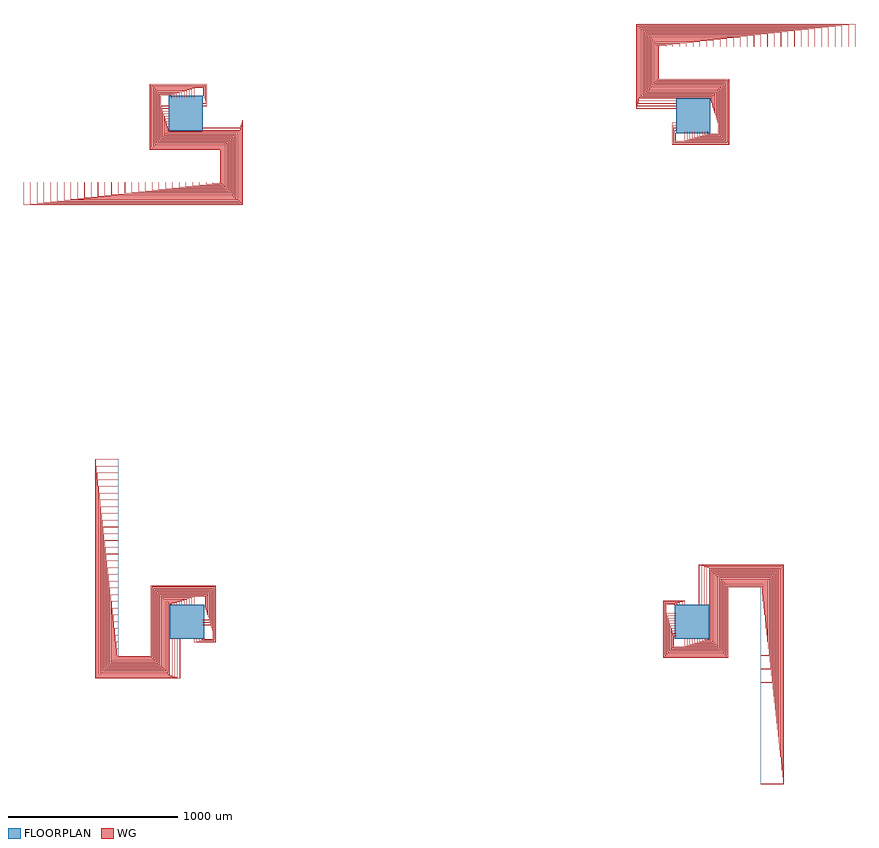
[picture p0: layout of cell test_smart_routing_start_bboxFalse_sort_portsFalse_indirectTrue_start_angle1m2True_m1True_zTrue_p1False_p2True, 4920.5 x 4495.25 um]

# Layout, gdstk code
import gdstk
lib = gdstk.Library(unit=1e-6, precision=1e-09)
def R(c, l, rs):  # rectangles x0, y0, x1, y1
    for r in rs: c.add(gdstk.rectangle(r[:2], r[2:], *l))
def P(c, l, *ps):  # polygons
    for p in ps: c.add(gdstk.Polygon(p, *l))
WG = (1, 0)
FLOORPLAN = (10, 0)

test_smart_routing_start = lib.new_cell('test_smart_routing_start_bboxFalse_sort_portsFalse_indirectTrue_start_angle1m2True_m1True_zTrue_p1False_p2True')
P(test_smart_routing_start, WG, [(2877.5,2822.25),(2877.5,2950.25),(2900,2950.25),(2900,2949.75),(2878,2949.75),(2878,2822.75),(3212,2822.75),(3212,3207.25),(2795.25,3207.25),(2795.25,3404.5),(2800.25,3404.5),(2800.25,3400),(2799.75,3400),(2799.75,3404),(2795.75,3404),(2795.75,3207.75),(3212.5,3207.75),(3212.5,2822.25)],
  [(2882,2826.75),(2882,2935.25),(2900,2935.25),(2900,2934.75),(2882.5,2934.75),(2882.5,2827.25),(3207.5,2827.25),(3207.5,3202.75),(2790.75,3202.75),(2790.75,3409),(2840.25,3409),(2840.25,3400),(2839.75,3400),(2839.75,3408.5),(2791.25,3408.5),(2791.25,3203.25),(3208,3203.25),(3208,2826.75)],
  [(2886.5,2831.25),(2886.5,2920.25),(2900,2920.25),(2900,2919.75),(2887,2919.75),(2887,2831.75),(3203,2831.75),(3203,3198.25),(2786.25,3198.25),(2786.25,3413.5),(2880.25,3413.5),(2880.25,3400),(2879.75,3400),(2879.75,3413),(2786.75,3413),(2786.75,3198.75),(3203.5,3198.75),(3203.5,2831.25)],
  [(2891,2835.75),(2891,2905.25),(2900,2905.25),(2900,2904.75),(2891.5,2904.75),(2891.5,2836.25),(3198.5,2836.25),(3198.5,3193.75),(2781.75,3193.75),(2781.75,3418),(2920.25,3418),(2920.25,3400),(2919.75,3400),(2919.75,3417.5),(2782.25,3417.5),(2782.25,3194.25),(3199,3194.25),(3199,2835.75)],
  [(2895.5,2840.25),(2895.5,2890.25),(2900,2890.25),(2900,2889.75),(2896,2889.75),(2896,2840.75),(3194,2840.75),(3194,3189.25),(2777.25,3189.25),(2777.25,3422.5),(2960.25,3422.5),(2960.25,3400),(2959.75,3400),(2959.75,3422),(2777.75,3422),(2777.75,3189.75),(3194.5,3189.75),(3194.5,2840.25)],
  [(2949.75,2844.75),(2949.75,2900),(2950.25,2900),(2950.25,2845.25),(3189.5,2845.25),(3189.5,3184.75),(2772.75,3184.75),(2772.75,3427),(3000.25,3427),(3000.25,3400),(2999.75,3400),(2999.75,3426.5),(2773.25,3426.5),(2773.25,3185.25),(3190,3185.25),(3190,2844.75)],
  [(2964.75,2849.25),(2964.75,2900),(2965.25,2900),(2965.25,2849.75),(3185,2849.75),(3185,3180.25),(2768.25,3180.25),(2768.25,3431.5),(3040.25,3431.5),(3040.25,3400),(3039.75,3400),(3039.75,3431),(2768.75,3431),(2768.75,3180.75),(3185.5,3180.75),(3185.5,2849.25)],
  [(2979.75,2853.75),(2979.75,2900),(2980.25,2900),(2980.25,2854.25),(3180.5,2854.25),(3180.5,3175.75),(2763.75,3175.75),(2763.75,3436),(3080.25,3436),(3080.25,3400),(3079.75,3400),(3079.75,3435.5),(2764.25,3435.5),(2764.25,3176.25),(3181,3176.25),(3181,2853.75)],
  [(2994.75,2858.25),(2994.75,2900),(2995.25,2900),(2995.25,2858.75),(3176,2858.75),(3176,3171.25),(2759.25,3171.25),(2759.25,3440.5),(3120.25,3440.5),(3120.25,3400),(3119.75,3400),(3119.75,3440),(2759.75,3440),(2759.75,3171.75),(3176.5,3171.75),(3176.5,2858.25)],
  [(3009.75,2862.75),(3009.75,2900),(3010.25,2900),(3010.25,2863.25),(3171.5,2863.25),(3171.5,3166.75),(2754.75,3166.75),(2754.75,3445),(3160.25,3445),(3160.25,3400),(3159.75,3400),(3159.75,3444.5),(2755.25,3444.5),(2755.25,3167.25),(3172,3167.25),(3172,2862.75)],
  [(3024.75,2867.25),(3024.75,2900),(3025.25,2900),(3025.25,2867.75),(3167,2867.75),(3167,3162.25),(2750.25,3162.25),(2750.25,3449.5),(3200.25,3449.5),(3200.25,3400),(3199.75,3400),(3199.75,3449),(2750.75,3449),(2750.75,3162.75),(3167.5,3162.75),(3167.5,2867.25)],
  [(3039.75,2871.75),(3039.75,2900),(3040.25,2900),(3040.25,2872.25),(3162.5,2872.25),(3162.5,3157.75),(2745.75,3157.75),(2745.75,3454),(3240.25,3454),(3240.25,3400),(3239.75,3400),(3239.75,3453.5),(2746.25,3453.5),(2746.25,3158.25),(3163,3158.25),(3163,2871.75)],
  [(3054.75,2876.25),(3054.75,2900),(3055.25,2900),(3055.25,2876.75),(3158,2876.75),(3158,3153.25),(2741.25,3153.25),(2741.25,3458.5),(3280.25,3458.5),(3280.25,3400),(3279.75,3400),(3279.75,3458),(2741.75,3458),(2741.75,3153.75),(3158.5,3153.75),(3158.5,2876.25)],
  [(3069.75,2880.75),(3069.75,2900),(3070.25,2900),(3070.25,2881.25),(3153.5,2881.25),(3153.5,3148.75),(2736.75,3148.75),(2736.75,3463),(3320.25,3463),(3320.25,3400),(3319.75,3400),(3319.75,3462.5),(2737.25,3462.5),(2737.25,3149.25),(3154,3149.25),(3154,2880.75)],
  [(3084.75,2885.25),(3084.75,2900),(3085.25,2900),(3085.25,2885.75),(3149,2885.75),(3149,3144.25),(2732.25,3144.25),(2732.25,3467.5),(3360.25,3467.5),(3360.25,3400),(3359.75,3400),(3359.75,3467),(2732.75,3467),(2732.75,3144.75),(3149.5,3144.75),(3149.5,2885.25)],
  [(3100,2949.75),(3100,2950.25),(3144.5,2950.25),(3144.5,3139.75),(2727.75,3139.75),(2727.75,3472),(3400.25,3472),(3400.25,3400),(3399.75,3400),(3399.75,3471.5),(2728.25,3471.5),(2728.25,3140.25),(3145,3140.25),(3145,2949.75)],
  [(3100,2964.75),(3100,2965.25),(3140,2965.25),(3140,3135.25),(2723.25,3135.25),(2723.25,3476.5),(3440.25,3476.5),(3440.25,3400),(3439.75,3400),(3439.75,3476),(2723.75,3476),(2723.75,3135.75),(3140.5,3135.75),(3140.5,2964.75)],
  [(3100,2979.75),(3100,2980.25),(3135.5,2980.25),(3135.5,3130.75),(2718.75,3130.75),(2718.75,3481),(3480.25,3481),(3480.25,3400),(3479.75,3400),(3479.75,3480.5),(2719.25,3480.5),(2719.25,3131.25),(3136,3131.25),(3136,2979.75)],
  [(3100,2994.75),(3100,2995.25),(3131,2995.25),(3131,3126.25),(2714.25,3126.25),(2714.25,3485.5),(3520.25,3485.5),(3520.25,3400),(3519.75,3400),(3519.75,3485),(2714.75,3485),(2714.75,3126.75),(3131.5,3126.75),(3131.5,2994.75)],
  [(3100,3009.75),(3100,3010.25),(3126.5,3010.25),(3126.5,3121.75),(2709.75,3121.75),(2709.75,3490),(3560.25,3490),(3560.25,3400),(3559.75,3400),(3559.75,3489.5),(2710.25,3489.5),(2710.25,3122.25),(3127,3122.25),(3127,3009.75)],
  [(3100,3024.75),(3100,3025.25),(3122,3025.25),(3122,3117.25),(2705.25,3117.25),(2705.25,3494.5),(3600.25,3494.5),(3600.25,3400),(3599.75,3400),(3599.75,3494),(2705.75,3494),(2705.75,3117.75),(3122.5,3117.75),(3122.5,3024.75)],
  [(3100,3039.75),(3100,3040.25),(3117.5,3040.25),(3117.5,3112.75),(2700.75,3112.75),(2700.75,3499),(3640.25,3499),(3640.25,3400),(3639.75,3400),(3639.75,3498.5),(2701.25,3498.5),(2701.25,3113.25),(3118,3113.25),(3118,3039.75)],
  [(3100,3054.75),(3100,3055.25),(3113,3055.25),(3113,3108.25),(2696.25,3108.25),(2696.25,3503.5),(3680.25,3503.5),(3680.25,3400),(3679.75,3400),(3679.75,3503),(2696.75,3503),(2696.75,3108.75),(3113.5,3108.75),(3113.5,3054.75)],
  [(3100,3069.75),(3100,3070.25),(3108.5,3070.25),(3108.5,3103.75),(2691.75,3103.75),(2691.75,3508),(3720.25,3508),(3720.25,3400),(3719.75,3400),(3719.75,3507.5),(2692.25,3507.5),(2692.25,3104.25),(3109,3104.25),(3109,3069.75)],
  [(3100,3084.75),(3100,3085.25),(3104,3085.25),(3104,3099.25),(2687.25,3099.25),(2687.25,3512.5),(3760.25,3512.5),(3760.25,3400),(3759.75,3400),(3759.75,3512),(2687.75,3512),(2687.75,3099.75),(3104.5,3099.75),(3104.5,3084.75)],
  [(2664.75,3034.75),(2664.75,3535),(3960.25,3535),(3960.25,3400),(3959.75,3400),(3959.75,3534.5),(2665.25,3534.5),(2665.25,3035.25),(2900,3035.25),(2900,3034.75)],
  [(2669.25,3049.75),(2669.25,3530.5),(3920.25,3530.5),(3920.25,3400),(3919.75,3400),(3919.75,3530),(2669.75,3530),(2669.75,3050.25),(2900,3050.25),(2900,3049.75)],
  [(2673.75,3064.75),(2673.75,3526),(3880.25,3526),(3880.25,3400),(3879.75,3400),(3879.75,3525.5),(2674.25,3525.5),(2674.25,3065.25),(2900,3065.25),(2900,3064.75)],
  [(2678.25,3079.75),(2678.25,3521.5),(3840.25,3521.5),(3840.25,3400),(3839.75,3400),(3839.75,3521),(2678.75,3521),(2678.75,3080.25),(2900,3080.25),(2900,3079.75)],
  [(2682.75,3094.75),(2682.75,3517),(3800.25,3517),(3800.25,3400),(3799.75,3400),(3799.75,3516.5),(2683.25,3516.5),(2683.25,3095.25),(2900,3095.25),(2900,3094.75)],
  [(199.75,2595.5),(199.75,2600),(200.25,2600),(200.25,2596),(204.25,2596),(204.25,2792.25),(-212.5,2792.25),(-212.5,3177.75),(122.5,3177.75),(122.5,3049.75),(100,3049.75),(100,3050.25),(122,3050.25),(122,3177.25),(-212,3177.25),(-212,2792.75),(204.75,2792.75),(204.75,2595.5)],
  [(159.75,2591),(159.75,2600),(160.25,2600),(160.25,2591.5),(208.75,2591.5),(208.75,2796.75),(-208,2796.75),(-208,3173.25),(118,3173.25),(118,3064.75),(100,3064.75),(100,3065.25),(117.5,3065.25),(117.5,3172.75),(-207.5,3172.75),(-207.5,2797.25),(209.25,2797.25),(209.25,2591)],
  [(119.75,2586.5),(119.75,2600),(120.25,2600),(120.25,2587),(213.25,2587),(213.25,2801.25),(-203.5,2801.25),(-203.5,3168.75),(113.5,3168.75),(113.5,3079.75),(100,3079.75),(100,3080.25),(113,3080.25),(113,3168.25),(-203,3168.25),(-203,2801.75),(213.75,2801.75),(213.75,2586.5)],
  [(79.75,2582),(79.75,2600),(80.25,2600),(80.25,2582.5),(217.75,2582.5),(217.75,2805.75),(-199,2805.75),(-199,3164.25),(109,3164.25),(109,3094.75),(100,3094.75),(100,3095.25),(108.5,3095.25),(108.5,3163.75),(-198.5,3163.75),(-198.5,2806.25),(218.25,2806.25),(218.25,2582)],
  [(39.75,2577.5),(39.75,2600),(40.25,2600),(40.25,2578),(222.25,2578),(222.25,2810.25),(-194.5,2810.25),(-194.5,3159.75),(104.5,3159.75),(104.5,3109.75),(100,3109.75),(100,3110.25),(104,3110.25),(104,3159.25),(-194,3159.25),(-194,2810.75),(222.75,2810.75),(222.75,2577.5)],
  [(-0.25,2573),(-0.25,2600),(0.25,2600),(0.25,2573.5),(226.75,2573.5),(226.75,2814.75),(-190,2814.75),(-190,3155.25),(50.25,3155.25),(50.25,3100),(49.75,3100),(49.75,3154.75),(-189.5,3154.75),(-189.5,2815.25),(227.25,2815.25),(227.25,2573)],
  [(-40.25,2568.5),(-40.25,2600),(-39.75,2600),(-39.75,2569),(231.25,2569),(231.25,2819.25),(-185.5,2819.25),(-185.5,3150.75),(35.25,3150.75),(35.25,3100),(34.75,3100),(34.75,3150.25),(-185,3150.25),(-185,2819.75),(231.75,2819.75),(231.75,2568.5)],
  [(-80.25,2564),(-80.25,2600),(-79.75,2600),(-79.75,2564.5),(235.75,2564.5),(235.75,2823.75),(-181,2823.75),(-181,3146.25),(20.25,3146.25),(20.25,3100),(19.75,3100),(19.75,3145.75),(-180.5,3145.75),(-180.5,2824.25),(236.25,2824.25),(236.25,2564)],
  [(-120.25,2559.5),(-120.25,2600),(-119.75,2600),(-119.75,2560),(240.25,2560),(240.25,2828.25),(-176.5,2828.25),(-176.5,3141.75),(5.25,3141.75),(5.25,3100),(4.75,3100),(4.75,3141.25),(-176,3141.25),(-176,2828.75),(240.75,2828.75),(240.75,2559.5)],
  [(-160.25,2555),(-160.25,2600),(-159.75,2600),(-159.75,2555.5),(244.75,2555.5),(244.75,2832.75),(-172,2832.75),(-172,3137.25),(-9.75,3137.25),(-9.75,3100),(-10.25,3100),(-10.25,3136.75),(-171.5,3136.75),(-171.5,2833.25),(245.25,2833.25),(245.25,2555)],
  [(-200.25,2550.5),(-200.25,2600),(-199.75,2600),(-199.75,2551),(249.25,2551),(249.25,2837.25),(-167.5,2837.25),(-167.5,3132.75),(-24.75,3132.75),(-24.75,3100),(-25.25,3100),(-25.25,3132.25),(-167,3132.25),(-167,2837.75),(249.75,2837.75),(249.75,2550.5)],
  [(-240.25,2546),(-240.25,2600),(-239.75,2600),(-239.75,2546.5),(253.75,2546.5),(253.75,2841.75),(-163,2841.75),(-163,3128.25),(-39.75,3128.25),(-39.75,3100),(-40.25,3100),(-40.25,3127.75),(-162.5,3127.75),(-162.5,2842.25),(254.25,2842.25),(254.25,2546)],
  [(-280.25,2541.5),(-280.25,2600),(-279.75,2600),(-279.75,2542),(258.25,2542),(258.25,2846.25),(-158.5,2846.25),(-158.5,3123.75),(-54.75,3123.75),(-54.75,3100),(-55.25,3100),(-55.25,3123.25),(-158,3123.25),(-158,2846.75),(258.75,2846.75),(258.75,2541.5)],
  [(-320.25,2537),(-320.25,2600),(-319.75,2600),(-319.75,2537.5),(262.75,2537.5),(262.75,2850.75),(-154,2850.75),(-154,3119.25),(-69.75,3119.25),(-69.75,3100),(-70.25,3100),(-70.25,3118.75),(-153.5,3118.75),(-153.5,2851.25),(263.25,2851.25),(263.25,2537)],
  [(-360.25,2532.5),(-360.25,2600),(-359.75,2600),(-359.75,2533),(267.25,2533),(267.25,2855.25),(-149.5,2855.25),(-149.5,3114.75),(-84.75,3114.75),(-84.75,3100),(-85.25,3100),(-85.25,3114.25),(-149,3114.25),(-149,2855.75),(267.75,2855.75),(267.75,2532.5)],
  [(-400.25,2528),(-400.25,2600),(-399.75,2600),(-399.75,2528.5),(271.75,2528.5),(271.75,2859.75),(-145,2859.75),(-145,3050.25),(-100,3050.25),(-100,3049.75),(-144.5,3049.75),(-144.5,2860.25),(272.25,2860.25),(272.25,2528)],
  [(-440.25,2523.5),(-440.25,2600),(-439.75,2600),(-439.75,2524),(276.25,2524),(276.25,2864.25),(-140.5,2864.25),(-140.5,3035.25),(-100,3035.25),(-100,3034.75),(-140,3034.75),(-140,2864.75),(276.75,2864.75),(276.75,2523.5)],
  [(-480.25,2519),(-480.25,2600),(-479.75,2600),(-479.75,2519.5),(280.75,2519.5),(280.75,2868.75),(-136,2868.75),(-136,3020.25),(-100,3020.25),(-100,3019.75),(-135.5,3019.75),(-135.5,2869.25),(281.25,2869.25),(281.25,2519)],
  [(-520.25,2514.5),(-520.25,2600),(-519.75,2600),(-519.75,2515),(285.25,2515),(285.25,2873.25),(-131.5,2873.25),(-131.5,3005.25),(-100,3005.25),(-100,3004.75),(-131,3004.75),(-131,2873.75),(285.75,2873.75),(285.75,2514.5)],
  [(-560.25,2510),(-560.25,2600),(-559.75,2600),(-559.75,2510.5),(289.75,2510.5),(289.75,2877.75),(-127,2877.75),(-127,2990.25),(-100,2990.25),(-100,2989.75),(-126.5,2989.75),(-126.5,2878.25),(290.25,2878.25),(290.25,2510)],
  [(-600.25,2505.5),(-600.25,2600),(-599.75,2600),(-599.75,2506),(294.25,2506),(294.25,2882.25),(-122.5,2882.25),(-122.5,2975.25),(-100,2975.25),(-100,2974.75),(-122,2974.75),(-122,2882.75),(294.75,2882.75),(294.75,2505.5)],
  [(-640.25,2501),(-640.25,2600),(-639.75,2600),(-639.75,2501.5),(298.75,2501.5),(298.75,2886.75),(-118,2886.75),(-118,2960.25),(-100,2960.25),(-100,2959.75),(-117.5,2959.75),(-117.5,2887.25),(299.25,2887.25),(299.25,2501)],
  [(-680.25,2496.5),(-680.25,2600),(-679.75,2600),(-679.75,2497),(303.25,2497),(303.25,2891.25),(-113.5,2891.25),(-113.5,2945.25),(-100,2945.25),(-100,2944.75),(-113,2944.75),(-113,2891.75),(303.75,2891.75),(303.75,2496.5)],
  [(-720.25,2492),(-720.25,2600),(-719.75,2600),(-719.75,2492.5),(307.75,2492.5),(307.75,2895.75),(-109,2895.75),(-109,2930.25),(-100,2930.25),(-100,2929.75),(-108.5,2929.75),(-108.5,2896.25),(308.25,2896.25),(308.25,2492)],
  [(-760.25,2487.5),(-760.25,2600),(-759.75,2600),(-759.75,2488),(312.25,2488),(312.25,2900.25),(-104.5,2900.25),(-104.5,2915.25),(-100,2915.25),(-100,2914.75),(-104,2914.75),(-104,2900.75),(312.75,2900.75),(312.75,2487.5)],
  [(-960.25,2465),(-960.25,2600),(-959.75,2600),(-959.75,2465.5),(334.75,2465.5),(334.75,2964.75),(100,2964.75),(100,2965.25),(335.25,2965.25),(335.25,2465)],
  [(-920.25,2469.5),(-920.25,2600),(-919.75,2600),(-919.75,2470),(330.25,2470),(330.25,2949.75),(100,2949.75),(100,2950.25),(330.75,2950.25),(330.75,2469.5)],
  [(-880.25,2474),(-880.25,2600),(-879.75,2600),(-879.75,2474.5),(325.75,2474.5),(325.75,2934.75),(100,2934.75),(100,2935.25),(326.25,2935.25),(326.25,2474)],
  [(-840.25,2478.5),(-840.25,2600),(-839.75,2600),(-839.75,2479),(321.25,2479),(321.25,2919.75),(100,2919.75),(100,2920.25),(321.75,2920.25),(321.75,2478.5)],
  [(-800.25,2483),(-800.25,2600),(-799.75,2600),(-799.75,2483.5),(316.75,2483.5),(316.75,2904.75),(100,2904.75),(100,2905.25),(317.25,2905.25),(317.25,2483)],
  [(-404.5,-204.75),(-404.5,-199.75),(-400,-199.75),(-400,-200.25),(-404,-200.25),(-404,-204.25),(-207.75,-204.25),(-207.75,212.5),(177.75,212.5),(177.75,-122.5),(49.75,-122.5),(49.75,-100),(50.25,-100),(50.25,-122),(177.25,-122),(177.25,212),(-207.25,212),(-207.25,-204.75)],
  [(-409,-209.25),(-409,-159.75),(-400,-159.75),(-400,-160.25),(-408.5,-160.25),(-408.5,-208.75),(-203.25,-208.75),(-203.25,208),(173.25,208),(173.25,-118),(64.75,-118),(64.75,-100),(65.25,-100),(65.25,-117.5),(172.75,-117.5),(172.75,207.5),(-202.75,207.5),(-202.75,-209.25)],
  [(-413.5,-213.75),(-413.5,-119.75),(-400,-119.75),(-400,-120.25),(-413,-120.25),(-413,-213.25),(-198.75,-213.25),(-198.75,203.5),(168.75,203.5),(168.75,-113.5),(79.75,-113.5),(79.75,-100),(80.25,-100),(80.25,-113),(168.25,-113),(168.25,203),(-198.25,203),(-198.25,-213.75)],
  [(-418,-218.25),(-418,-79.75),(-400,-79.75),(-400,-80.25),(-417.5,-80.25),(-417.5,-217.75),(-194.25,-217.75),(-194.25,199),(164.25,199),(164.25,-109),(94.75,-109),(94.75,-100),(95.25,-100),(95.25,-108.5),(163.75,-108.5),(163.75,198.5),(-193.75,198.5),(-193.75,-218.25)],
  [(-422.5,-222.75),(-422.5,-39.75),(-400,-39.75),(-400,-40.25),(-422,-40.25),(-422,-222.25),(-189.75,-222.25),(-189.75,194.5),(159.75,194.5),(159.75,-104.5),(109.75,-104.5),(109.75,-100),(110.25,-100),(110.25,-104),(159.25,-104),(159.25,194),(-189.25,194),(-189.25,-222.75)],
  [(-427,-227.25),(-427,0.25),(-400,0.25),(-400,-0.25),(-426.5,-0.25),(-426.5,-226.75),(-185.25,-226.75),(-185.25,190),(155.25,190),(155.25,-50.25),(100,-50.25),(100,-49.75),(154.75,-49.75),(154.75,189.5),(-184.75,189.5),(-184.75,-227.25)],
  [(-431.5,-231.75),(-431.5,40.25),(-400,40.25),(-400,39.75),(-431,39.75),(-431,-231.25),(-180.75,-231.25),(-180.75,185.5),(150.75,185.5),(150.75,-35.25),(100,-35.25),(100,-34.75),(150.25,-34.75),(150.25,185),(-180.25,185),(-180.25,-231.75)],
  [(-436,-236.25),(-436,80.25),(-400,80.25),(-400,79.75),(-435.5,79.75),(-435.5,-235.75),(-176.25,-235.75),(-176.25,181),(146.25,181),(146.25,-20.25),(100,-20.25),(100,-19.75),(145.75,-19.75),(145.75,180.5),(-175.75,180.5),(-175.75,-236.25)],
  [(-440.5,-240.75),(-440.5,120.25),(-400,120.25),(-400,119.75),(-440,119.75),(-440,-240.25),(-171.75,-240.25),(-171.75,176.5),(141.75,176.5),(141.75,-5.25),(100,-5.25),(100,-4.75),(141.25,-4.75),(141.25,176),(-171.25,176),(-171.25,-240.75)],
  [(-445,-245.25),(-445,160.25),(-400,160.25),(-400,159.75),(-444.5,159.75),(-444.5,-244.75),(-167.25,-244.75),(-167.25,172),(137.25,172),(137.25,9.75),(100,9.75),(100,10.25),(136.75,10.25),(136.75,171.5),(-166.75,171.5),(-166.75,-245.25)],
  [(-449.5,-249.75),(-449.5,200.25),(-400,200.25),(-400,199.75),(-449,199.75),(-449,-249.25),(-162.75,-249.25),(-162.75,167.5),(132.75,167.5),(132.75,24.75),(100,24.75),(100,25.25),(132.25,25.25),(132.25,167),(-162.25,167),(-162.25,-249.75)],
  [(-454,-254.25),(-454,240.25),(-400,240.25),(-400,239.75),(-453.5,239.75),(-453.5,-253.75),(-158.25,-253.75),(-158.25,163),(128.25,163),(128.25,39.75),(100,39.75),(100,40.25),(127.75,40.25),(127.75,162.5),(-157.75,162.5),(-157.75,-254.25)],
  [(-458.5,-258.75),(-458.5,280.25),(-400,280.25),(-400,279.75),(-458,279.75),(-458,-258.25),(-153.75,-258.25),(-153.75,158.5),(123.75,158.5),(123.75,54.75),(100,54.75),(100,55.25),(123.25,55.25),(123.25,158),(-153.25,158),(-153.25,-258.75)],
  [(-463,-263.25),(-463,320.25),(-400,320.25),(-400,319.75),(-462.5,319.75),(-462.5,-262.75),(-149.25,-262.75),(-149.25,154),(119.25,154),(119.25,69.75),(100,69.75),(100,70.25),(118.75,70.25),(118.75,153.5),(-148.75,153.5),(-148.75,-263.25)],
  [(-467.5,-267.75),(-467.5,360.25),(-400,360.25),(-400,359.75),(-467,359.75),(-467,-267.25),(-144.75,-267.25),(-144.75,149.5),(114.75,149.5),(114.75,84.75),(100,84.75),(100,85.25),(114.25,85.25),(114.25,149),(-144.25,149),(-144.25,-267.75)],
  [(-472,-272.25),(-472,400.25),(-400,400.25),(-400,399.75),(-471.5,399.75),(-471.5,-271.75),(-140.25,-271.75),(-140.25,145),(50.25,145),(50.25,100),(49.75,100),(49.75,144.5),(-139.75,144.5),(-139.75,-272.25)],
  [(-476.5,-276.75),(-476.5,440.25),(-400,440.25),(-400,439.75),(-476,439.75),(-476,-276.25),(-135.75,-276.25),(-135.75,140.5),(35.25,140.5),(35.25,100),(34.75,100),(34.75,140),(-135.25,140),(-135.25,-276.75)],
  [(-481,-281.25),(-481,480.25),(-400,480.25),(-400,479.75),(-480.5,479.75),(-480.5,-280.75),(-131.25,-280.75),(-131.25,136),(20.25,136),(20.25,100),(19.75,100),(19.75,135.5),(-130.75,135.5),(-130.75,-281.25)],
  [(-485.5,-285.75),(-485.5,520.25),(-400,520.25),(-400,519.75),(-485,519.75),(-485,-285.25),(-126.75,-285.25),(-126.75,131.5),(5.25,131.5),(5.25,100),(4.75,100),(4.75,131),(-126.25,131),(-126.25,-285.75)],
  [(-490,-290.25),(-490,560.25),(-400,560.25),(-400,559.75),(-489.5,559.75),(-489.5,-289.75),(-122.25,-289.75),(-122.25,127),(-9.75,127),(-9.75,100),(-10.25,100),(-10.25,126.5),(-121.75,126.5),(-121.75,-290.25)],
  [(-494.5,-294.75),(-494.5,600.25),(-400,600.25),(-400,599.75),(-494,599.75),(-494,-294.25),(-117.75,-294.25),(-117.75,122.5),(-24.75,122.5),(-24.75,100),(-25.25,100),(-25.25,122),(-117.25,122),(-117.25,-294.75)],
  [(-499,-299.25),(-499,640.25),(-400,640.25),(-400,639.75),(-498.5,639.75),(-498.5,-298.75),(-113.25,-298.75),(-113.25,118),(-39.75,118),(-39.75,100),(-40.25,100),(-40.25,117.5),(-112.75,117.5),(-112.75,-299.25)],
  [(-503.5,-303.75),(-503.5,680.25),(-400,680.25),(-400,679.75),(-503,679.75),(-503,-303.25),(-108.75,-303.25),(-108.75,113.5),(-54.75,113.5),(-54.75,100),(-55.25,100),(-55.25,113),(-108.25,113),(-108.25,-303.75)],
  [(-508,-308.25),(-508,720.25),(-400,720.25),(-400,719.75),(-507.5,719.75),(-507.5,-307.75),(-104.25,-307.75),(-104.25,109),(-69.75,109),(-69.75,100),(-70.25,100),(-70.25,108.5),(-103.75,108.5),(-103.75,-308.25)],
  [(-512.5,-312.75),(-512.5,760.25),(-400,760.25),(-400,759.75),(-512,759.75),(-512,-312.25),(-99.75,-312.25),(-99.75,104.5),(-84.75,104.5),(-84.75,100),(-85.25,100),(-85.25,104),(-99.25,104),(-99.25,-312.75)],
  [(-535,-335.25),(-535,960.25),(-400,960.25),(-400,959.75),(-534.5,959.75),(-534.5,-334.75),(-35.25,-334.75),(-35.25,-100),(-34.75,-100),(-34.75,-335.25)],
  [(-530.5,-330.75),(-530.5,920.25),(-400,920.25),(-400,919.75),(-530,919.75),(-530,-330.25),(-50.25,-330.25),(-50.25,-100),(-49.75,-100),(-49.75,-330.75)],
  [(-526,-326.25),(-526,880.25),(-400,880.25),(-400,879.75),(-525.5,879.75),(-525.5,-325.75),(-65.25,-325.75),(-65.25,-100),(-64.75,-100),(-64.75,-326.25)],
  [(-521.5,-321.75),(-521.5,840.25),(-400,840.25),(-400,839.75),(-521,839.75),(-521,-321.25),(-80.25,-321.25),(-80.25,-100),(-79.75,-100),(-79.75,-321.75)],
  [(-517,-317.25),(-517,800.25),(-400,800.25),(-400,799.75),(-516.5,799.75),(-516.5,-316.75),(-95.25,-316.75),(-95.25,-100),(-94.75,-100),(-94.75,-317.25)],
  [(2822.25,-212.5),(2822.25,122.5),(2950.25,122.5),(2950.25,100),(2949.75,100),(2949.75,122),(2822.75,122),(2822.75,-212),(3207.25,-212),(3207.25,204.75),(3404.5,204.75),(3404.5,199.75),(3400,199.75),(3400,200.25),(3404,200.25),(3404,204.25),(3207.75,204.25),(3207.75,-212.5)],
  [(2826.75,-208),(2826.75,118),(2935.25,118),(2935.25,100),(2934.75,100),(2934.75,117.5),(2827.25,117.5),(2827.25,-207.5),(3202.75,-207.5),(3202.75,209.25),(3409,209.25),(3409,159.75),(3400,159.75),(3400,160.25),(3408.5,160.25),(3408.5,208.75),(3203.25,208.75),(3203.25,-208)],
  [(2831.25,-203.5),(2831.25,113.5),(2920.25,113.5),(2920.25,100),(2919.75,100),(2919.75,113),(2831.75,113),(2831.75,-203),(3198.25,-203),(3198.25,213.75),(3413.5,213.75),(3413.5,119.75),(3400,119.75),(3400,120.25),(3413,120.25),(3413,213.25),(3198.75,213.25),(3198.75,-203.5)],
  [(2835.75,-199),(2835.75,109),(2905.25,109),(2905.25,100),(2904.75,100),(2904.75,108.5),(2836.25,108.5),(2836.25,-198.5),(3193.75,-198.5),(3193.75,218.25),(3418,218.25),(3418,79.75),(3400,79.75),(3400,80.25),(3417.5,80.25),(3417.5,217.75),(3194.25,217.75),(3194.25,-199)],
  [(2840.25,-194.5),(2840.25,104.5),(2890.25,104.5),(2890.25,100),(2889.75,100),(2889.75,104),(2840.75,104),(2840.75,-194),(3189.25,-194),(3189.25,222.75),(3422.5,222.75),(3422.5,39.75),(3400,39.75),(3400,40.25),(3422,40.25),(3422,222.25),(3189.75,222.25),(3189.75,-194.5)],
  [(2844.75,-190),(2844.75,50.25),(2900,50.25),(2900,49.75),(2845.25,49.75),(2845.25,-189.5),(3184.75,-189.5),(3184.75,227.25),(3427,227.25),(3427,-0.25),(3400,-0.25),(3400,0.25),(3426.5,0.25),(3426.5,226.75),(3185.25,226.75),(3185.25,-190)],
  [(2849.25,-185.5),(2849.25,35.25),(2900,35.25),(2900,34.75),(2849.75,34.75),(2849.75,-185),(3180.25,-185),(3180.25,231.75),(3431.5,231.75),(3431.5,-40.25),(3400,-40.25),(3400,-39.75),(3431,-39.75),(3431,231.25),(3180.75,231.25),(3180.75,-185.5)],
  [(2853.75,-181),(2853.75,20.25),(2900,20.25),(2900,19.75),(2854.25,19.75),(2854.25,-180.5),(3175.75,-180.5),(3175.75,236.25),(3436,236.25),(3436,-80.25),(3400,-80.25),(3400,-79.75),(3435.5,-79.75),(3435.5,235.75),(3176.25,235.75),(3176.25,-181)],
  [(2858.25,-176.5),(2858.25,5.25),(2900,5.25),(2900,4.75),(2858.75,4.75),(2858.75,-176),(3171.25,-176),(3171.25,240.75),(3440.5,240.75),(3440.5,-120.25),(3400,-120.25),(3400,-119.75),(3440,-119.75),(3440,240.25),(3171.75,240.25),(3171.75,-176.5)],
  [(2862.75,-172),(2862.75,-9.75),(2900,-9.75),(2900,-10.25),(2863.25,-10.25),(2863.25,-171.5),(3166.75,-171.5),(3166.75,245.25),(3445,245.25),(3445,-160.25),(3400,-160.25),(3400,-159.75),(3444.5,-159.75),(3444.5,244.75),(3167.25,244.75),(3167.25,-172)],
  [(3400,-200.25),(3400,-199.75),(3449,-199.75),(3449,249.25),(3162.75,249.25),(3162.75,-167.5),(2867.25,-167.5),(2867.25,-24.75),(2900,-24.75),(2900,-25.25),(2867.75,-25.25),(2867.75,-167),(3162.25,-167),(3162.25,249.75),(3449.5,249.75),(3449.5,-200.25)],
  [(3400,-240.25),(3400,-239.75),(3453.5,-239.75),(3453.5,253.75),(3158.25,253.75),(3158.25,-163),(2871.75,-163),(2871.75,-39.75),(2900,-39.75),(2900,-40.25),(2872.25,-40.25),(2872.25,-162.5),(3157.75,-162.5),(3157.75,254.25),(3454,254.25),(3454,-240.25)],
  [(3400,-280.25),(3400,-279.75),(3458,-279.75),(3458,258.25),(3153.75,258.25),(3153.75,-158.5),(2876.25,-158.5),(2876.25,-54.75),(2900,-54.75),(2900,-55.25),(2876.75,-55.25),(2876.75,-158),(3153.25,-158),(3153.25,258.75),(3458.5,258.75),(3458.5,-280.25)],
  [(3400,-320.25),(3400,-319.75),(3462.5,-319.75),(3462.5,262.75),(3149.25,262.75),(3149.25,-154),(2880.75,-154),(2880.75,-69.75),(2900,-69.75),(2900,-70.25),(2881.25,-70.25),(2881.25,-153.5),(3148.75,-153.5),(3148.75,263.25),(3463,263.25),(3463,-320.25)],
  [(3400,-360.25),(3400,-359.75),(3467,-359.75),(3467,267.25),(3144.75,267.25),(3144.75,-149.5),(2885.25,-149.5),(2885.25,-84.75),(2900,-84.75),(2900,-85.25),(2885.75,-85.25),(2885.75,-149),(3144.25,-149),(3144.25,267.75),(3467.5,267.75),(3467.5,-360.25)],
  [(3400,-400.25),(3400,-399.75),(3471.5,-399.75),(3471.5,271.75),(3140.25,271.75),(3140.25,-145),(2949.75,-145),(2949.75,-100),(2950.25,-100),(2950.25,-144.5),(3139.75,-144.5),(3139.75,272.25),(3472,272.25),(3472,-400.25)],
  [(3400,-440.25),(3400,-439.75),(3476,-439.75),(3476,276.25),(3135.75,276.25),(3135.75,-140.5),(2964.75,-140.5),(2964.75,-100),(2965.25,-100),(2965.25,-140),(3135.25,-140),(3135.25,276.75),(3476.5,276.75),(3476.5,-440.25)],
  [(3400,-480.25),(3400,-479.75),(3480.5,-479.75),(3480.5,280.75),(3131.25,280.75),(3131.25,-136),(2979.75,-136),(2979.75,-100),(2980.25,-100),(2980.25,-135.5),(3130.75,-135.5),(3130.75,281.25),(3481,281.25),(3481,-480.25)],
  [(3400,-520.25),(3400,-519.75),(3485,-519.75),(3485,285.25),(3126.75,285.25),(3126.75,-131.5),(2994.75,-131.5),(2994.75,-100),(2995.25,-100),(2995.25,-131),(3126.25,-131),(3126.25,285.75),(3485.5,285.75),(3485.5,-520.25)],
  [(3400,-560.25),(3400,-559.75),(3489.5,-559.75),(3489.5,289.75),(3122.25,289.75),(3122.25,-127),(3009.75,-127),(3009.75,-100),(3010.25,-100),(3010.25,-126.5),(3121.75,-126.5),(3121.75,290.25),(3490,290.25),(3490,-560.25)],
  [(3400,-600.25),(3400,-599.75),(3494,-599.75),(3494,294.25),(3117.75,294.25),(3117.75,-122.5),(3024.75,-122.5),(3024.75,-100),(3025.25,-100),(3025.25,-122),(3117.25,-122),(3117.25,294.75),(3494.5,294.75),(3494.5,-600.25)],
  [(3400,-640.25),(3400,-639.75),(3498.5,-639.75),(3498.5,298.75),(3113.25,298.75),(3113.25,-118),(3039.75,-118),(3039.75,-100),(3040.25,-100),(3040.25,-117.5),(3112.75,-117.5),(3112.75,299.25),(3499,299.25),(3499,-640.25)],
  [(3400,-680.25),(3400,-679.75),(3503,-679.75),(3503,303.25),(3108.75,303.25),(3108.75,-113.5),(3054.75,-113.5),(3054.75,-100),(3055.25,-100),(3055.25,-113),(3108.25,-113),(3108.25,303.75),(3503.5,303.75),(3503.5,-680.25)],
  [(3400,-720.25),(3400,-719.75),(3507.5,-719.75),(3507.5,307.75),(3104.25,307.75),(3104.25,-109),(3069.75,-109),(3069.75,-100),(3070.25,-100),(3070.25,-108.5),(3103.75,-108.5),(3103.75,308.25),(3508,308.25),(3508,-720.25)],
  [(3400,-760.25),(3400,-759.75),(3512,-759.75),(3512,312.25),(3099.75,312.25),(3099.75,-104.5),(3084.75,-104.5),(3084.75,-100),(3085.25,-100),(3085.25,-104),(3099.25,-104),(3099.25,312.75),(3512.5,312.75),(3512.5,-760.25)],
  [(3400,-960.25),(3400,-959.75),(3534.5,-959.75),(3534.5,334.75),(3035.25,334.75),(3035.25,100),(3034.75,100),(3034.75,335.25),(3535,335.25),(3535,-960.25)],
  [(3400,-920.25),(3400,-919.75),(3530,-919.75),(3530,330.25),(3050.25,330.25),(3050.25,100),(3049.75,100),(3049.75,330.75),(3530.5,330.75),(3530.5,-920.25)],
  [(3400,-880.25),(3400,-879.75),(3525.5,-879.75),(3525.5,325.75),(3065.25,325.75),(3065.25,100),(3064.75,100),(3064.75,326.25),(3526,326.25),(3526,-880.25)],
  [(3400,-840.25),(3400,-839.75),(3521,-839.75),(3521,321.25),(3080.25,321.25),(3080.25,100),(3079.75,100),(3079.75,321.75),(3521.5,321.75),(3521.5,-840.25)],
  [(3400,-800.25),(3400,-799.75),(3516.5,-799.75),(3516.5,316.75),(3095.25,316.75),(3095.25,100),(3094.75,100),(3094.75,317.25),(3517,317.25),(3517,-800.25)])
R(test_smart_routing_start, FLOORPLAN, [(-95,-100,110,100), (2890,-100,3095,100), (2900,2890,3100,3095), (-100,2905,100,3110)])
P(test_smart_routing_start, FLOORPLAN, [(-400,-200),(-400,960),(-400,960),(-400,-200)],
  [(-960,2600),(-960,2600),(200,2600),(200,2600)],
  [(3400,-960),(3400,200),(3400,200),(3400,-960)],
  [(2800,3400),(2800,3400),(3960,3400),(3960,3400)])

lib.write_gds('test_smart_routing_start_bboxFalse_sort_portsFalse_indirectTrue_start_angle1m2True_m1True_zTrue_p1False_p2True.gds')
